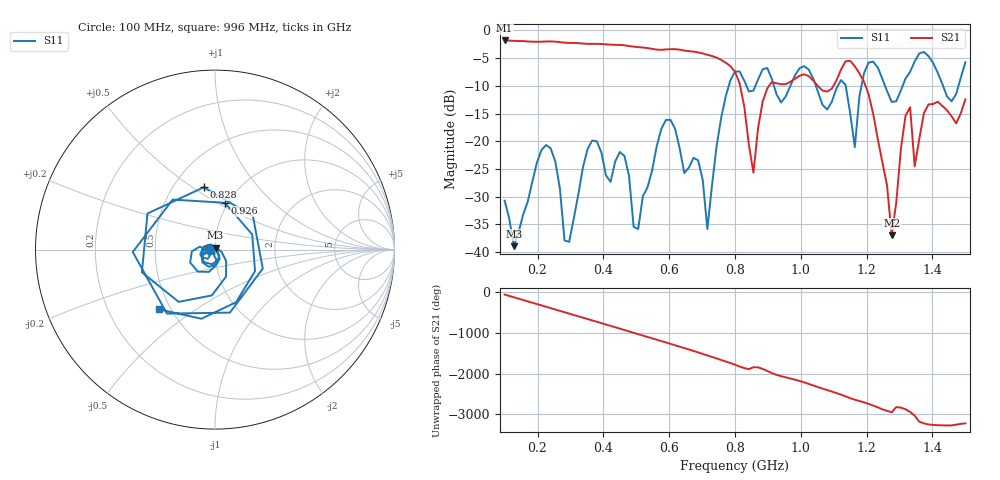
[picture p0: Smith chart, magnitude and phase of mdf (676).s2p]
! NanoVNA-App
! Date: 2025-09-25 15:43:41
! Start: 100MHz Stop: 1,5GHz Points: 101
! S-Parameter data: F S11 S21 S12 S22
# Hz S RI R 50
!  Frequency  S11_Real  S11_Imag  S21_Real  S21_Imag  S12_Real  S12_Imag  S22_Real  S22_Imag
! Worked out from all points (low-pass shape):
!   101 points, 100 MHz to 1.5 GHz, reference 50 ohm
!   highest |S21| = -1.80 dB at 100 MHz (marker M1); lowest = -37.0 dB at 1.276 GHz (marker M2)
!   |S21| within 3 dB of the highest: start of sweep to 739.4 MHz
!   lowest |S11| = -38.9 dB at 128 MHz (marker M3), VSWR 1.02, Z = 50.3 + j1.08 ohm
!   |S11| at or under -10 dB: start of sweep to 781.1 MHz; 918.4 MHz to 968.1 MHz (49.73 MHz wide, 5.27 % of centre); 1.046 GHz to 1.112 GHz (66.85 MHz wide, 6.2 % of centre) (the widest 3 of 7)
!   S12 and S22 are empty: the file has one direction only
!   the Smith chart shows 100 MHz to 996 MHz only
!   S11 on the Smith chart (normalised r, x): 100 MHz: 0.94, -0.01; 828 MHz: 0.70, +0.56; 926 MHz: 0.97, +0.54; 996 MHz: 0.43, -0.36
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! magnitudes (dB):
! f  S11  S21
! 100 MHz  -30.7  -1.8
! 128 MHz  -38.9  -1.9
! 212 MHz  -21.6  -2.0
! 282 MHz  -37.9  -2.2
! 338 MHz  -24.7  -2.4
! 464 MHz  -22.7  -2.7
! 506 MHz  -35.9  -3.0
! 576 MHz  -17.8  -3.5
! 688 MHz  -23.4  -4.0
! 716 MHz  -35.9  -4.4
! 800 MHz  -7.4  -7.4
! 828 MHz  -9.0  -13.6
! 856 MHz  -10.9  -25.7
! 926 MHz  -11.5  -9.5
! 996 MHz  -6.8  -8.2
! 1.038 GHz  -8.7  -9.1
! 1.164 GHz  -21.1  -6.5
! 1.192 GHz  -7.7  -9.3
! 1.276 GHz  -12.9  -37.0
! 1.332 GHz  -7.5  -13.9
! 1.346 GHz  -5.6  -24.5
! 1.5 GHz  -5.7  -12.4
